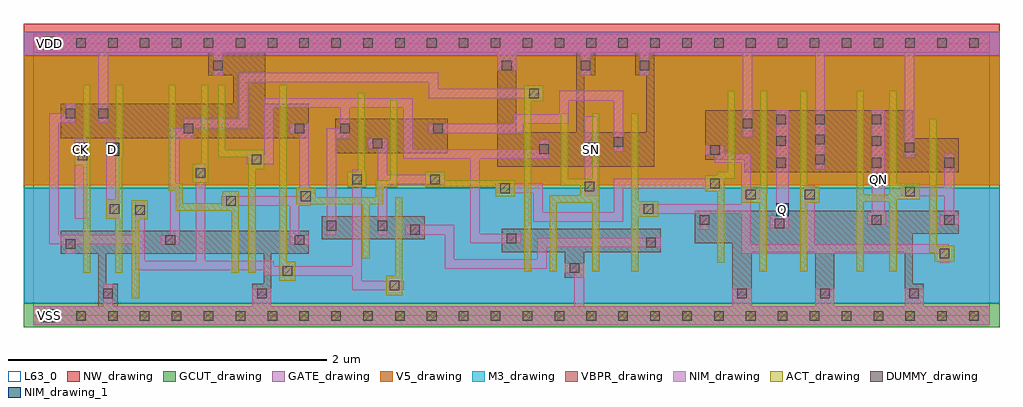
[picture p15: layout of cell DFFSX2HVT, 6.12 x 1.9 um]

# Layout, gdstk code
import gdstk
lib = gdstk.Library(unit=1e-6, precision=5e-10)
def R(c, l, rs):  # rectangles x0, y0, x1, y1
    for r in rs: c.add(gdstk.rectangle(r[:2], r[2:], *l))
def A(c, l, x, y, w, h, nx, ny, dx, dy):  # array of equal rectangles
    R(c, l, [(x+i*dx, y+j*dy, x+i*dx+w, y+j*dy+h) for i in range(nx) for j in range(ny)])
def P(c, l, *ps):  # polygons
    for p in ps: c.add(gdstk.Polygon(p, *l))
VBPR_drawing = (1, 0)
NW_drawing = (2, 0)
ACT_drawing = (3, 0)
GATE_drawing = (4, 0)
GCUT_drawing = (5, 0)
DUMMY_drawing = (6, 0)
NIM_drawing = (7, 0)
NIM_drawing_1 = (7, 1)
M3_drawing = (18, 0)
V5_drawing = (23, 0)
L63_0 = (63, 0)

dffsx2hvt = lib.new_cell('DFFSX2HVT')
R(dffsx2hvt, VBPR_drawing, [(0,-0.06,6,0.06), (1.81,0.48,2.455,0.625), (1.895,1.02,2.6,1.235), (0,1.65,6,1.77)])
P(dffsx2hvt, VBPR_drawing, [(3.895,1.65),(3.775,1.65),(3.775,1.51),(3.845,1.51),(3.845,1.15),(3.455,1.15),(3.455,1.51),(3.525,1.51),(3.525,1.65),(3.405,1.65),(3.405,1.15),(3.03,1.15),(3.03,1.65),(2.91,1.65),(2.91,0.935),(3.895,0.935)],
  [(4.215,1.29),(5.515,1.29),(5.515,1.115),(5.805,1.115),(5.805,0.9),(4.46,0.9),(4.46,0.98),(4.215,0.98)],
  [(5.805,0.66),(4.15,0.66),(4.15,0.455),(4.385,0.455),(4.385,0.06),(4.505,0.06),(4.505,0.4),(4.905,0.4),(4.905,0.06),(5.025,0.06),(5.025,0.4),(5.465,0.4),(5.465,0.06),(5.585,0.06),(5.585,0.2),(5.515,0.2),(5.515,0.515),(5.805,0.515)],
  [(2.94,0.545),(3.935,0.545),(3.935,0.4),(3.455,0.4),(3.455,0.24),(3.335,0.24),(3.335,0.4),(2.94,0.4)],
  [(1.73,0.535),(0.175,0.535),(0.175,0.39),(0.41,0.39),(0.41,0.06),(0.53,0.06),(0.53,0.2),(0.46,0.2),(0.46,0.39),(1.445,0.39),(1.445,0.2),(1.375,0.2),(1.375,0.06),(1.495,0.06),(1.495,0.39),(1.73,0.39)],
  [(1.73,1.33),(1.455,1.33),(1.455,1.65),(1.1,1.65),(1.1,1.51),(1.255,1.51),(1.255,1.33),(0.175,1.33),(0.175,1.115),(1.73,1.115)])
R(dffsx2hvt, NW_drawing, [(-0.06,0.82,6.06,1.83)])
P(dffsx2hvt, ACT_drawing, [(0.315,1.45),(0.36,1.45),(0.36,0.27),(0.315,0.27),(0.315,0.945),(0.26,0.945),(0.26,1.065),(0.315,1.065)],
  [(0.52,1.45),(0.565,1.45),(0.565,0.995),(0.56,0.995),(0.56,0.27),(0.515,0.27),(0.515,0.61),(0.46,0.61),(0.46,0.73),(0.515,0.73),(0.515,1.04),(0.52,1.04)],
  [(0.85,1.45),(0.895,1.45),(0.895,0.83),(0.94,0.83),(0.94,0.705),(1.19,0.705),(1.19,0.78),(1.29,0.78),(1.29,0.27),(1.245,0.27),(1.245,0.66),(0.895,0.66),(0.895,0.785),(0.85,0.785)],
  [(1.055,1.45),(1.1,1.45),(1.1,0.835),(1,0.835),(1,0.955),(1.055,0.955)],
  [(1.16,1.45),(1.205,1.45),(1.205,1.04),(1.45,1.04),(1.45,0.92),(1.395,0.92),(1.395,0.27),(1.35,0.27),(1.35,0.995),(1.16,0.995)],
  [(1.545,1.45),(1.59,1.45),(1.59,0.34),(1.645,0.34),(1.645,0.22),(1.545,0.22)],
  [(2.035,1.4),(2.08,1.4),(2.08,0.905),(2.09,0.905),(2.09,0.805),(1.97,0.805),(1.97,0.905),(2.035,0.905)],
  [(2.24,1.355),(2.285,1.355),(2.285,0.805),(2.195,0.805),(2.195,0.7),(2.11,0.7),(2.11,0.36),(2.065,0.36),(2.065,0.7),(1.65,0.7),(1.65,0.8),(1.77,0.8),(1.77,0.745),(2.15,0.745),(2.15,0.85),(2.24,0.85)],
  [(0.62,0.725),(0.72,0.725),(0.72,0.605),(0.665,0.605),(0.665,0.11),(0.62,0.11)],
  [(3.08,1.445),(3.2,1.445),(3.2,1.345),(3.125,1.345),(3.125,0.28),(3.08,0.28)],
  [(4.355,1.41),(4.4,1.41),(4.4,0.86),(4.335,0.86),(4.335,0.335),(4.29,0.335),(4.29,0.78),(4.215,0.78),(4.215,0.88),(4.29,0.88),(4.29,0.905),(4.355,0.905)],
  [(4.56,1.41),(4.605,1.41),(4.605,0.765),(4.6,0.765),(4.6,0.28),(4.555,0.28),(4.555,0.71),(4.44,0.71),(4.44,0.81),(4.56,0.81)],
  [(4.81,1.41),(4.855,1.41),(4.855,0.81),(4.93,0.81),(4.93,0.71),(4.855,0.71),(4.855,0.28),(4.81,0.28)],
  [(5.165,1.41),(5.21,1.41),(5.21,0.76),(5.37,0.76),(5.37,1.41),(5.415,1.41),(5.415,0.83),(5.56,0.83),(5.56,0.73),(5.415,0.73),(5.415,0.28),(5.37,0.28),(5.37,0.715),(5.21,0.715),(5.21,0.28),(5.165,0.28)],
  [(3.31,1.27),(3.355,1.27),(3.355,0.86),(3.505,0.86),(3.505,1.27),(3.55,1.27),(3.55,0.28),(3.505,0.28),(3.505,0.71),(3.285,0.71),(3.285,0.28),(3.24,0.28),(3.24,0.755),(3.43,0.755),(3.43,0.815),(3.31,0.815)],
  [(3.75,1.27),(3.795,1.27),(3.795,0.72),(3.92,0.72),(3.92,0.62),(3.795,0.62),(3.795,0.28),(3.75,0.28)],
  [(5.62,1.235),(5.665,1.235),(5.665,0.44),(5.775,0.44),(5.775,0.34),(5.655,0.34),(5.655,0.395),(5.62,0.395)],
  [(2.46,0.905),(2.58,0.905),(2.58,0.85),(3.02,0.85),(3.02,0.75),(2.9,0.75),(2.9,0.805),(2.46,0.805)],
  [(2.27,0.745),(2.315,0.745),(2.315,0.13),(2.215,0.13),(2.215,0.25),(2.27,0.25)])
R(dffsx2hvt, GATE_drawing, [(-0.06,0.08,6.06,0.8), (-0.06,1.63,6.06,1.78)])
R(dffsx2hvt, GCUT_drawing, [(-0.06,-0.07,6.06,0.08), (-0.06,0.8,6.06,1.63)])
A(dffsx2hvt, DUMMY_drawing, 0.07, -0.03, 0.06, 0.06, 30, 2, 0.2, 1.71)
A(dffsx2hvt, DUMMY_drawing, 4.66, 0.93, 0.06, 0.06, 1, 3, 0, 0.135)
A(dffsx2hvt, DUMMY_drawing, 5.26, 0.93, 0.06, 0.06, 1, 3, 0, 0.135)
A(dffsx2hvt, DUMMY_drawing, 4.905, 0.95, 0.06, 0.06, 1, 3, 0, 0.125)
R(dffsx2hvt, DUMMY_drawing, [(0.44,0.11,0.5,0.17), (1.405,0.11,1.465,0.17), (4.415,0.11,4.475,0.17), (4.935,0.11,4.995,0.17), (5.495,0.11,5.555,0.17), (2.235,0.16,2.295,0.22), (1.565,0.25,1.625,0.31), (3.365,0.27,3.425,0.33), (5.685,0.36,5.745,0.42), (0.205,0.42,0.265,0.48), (3.845,0.43,3.905,0.49), (0.83,0.445,0.89,0.505), (1.64,0.445,1.7,0.505), (2.97,0.455,3.03,0.515), (2.365,0.51,2.425,0.57), (1.84,0.535,1.9,0.595), (2.16,0.535,2.22,0.595), (4.65,0.55,4.71,0.61), (4.18,0.57,4.24,0.63), (5.26,0.57,5.32,0.63), (5.715,0.57,5.775,0.63), (0.64,0.635,0.7,0.695), (0.48,0.64,0.54,0.7), (3.83,0.64,3.89,0.7), (1.21,0.69,1.27,0.75), (1.68,0.72,1.74,0.78), (4.47,0.73,4.53,0.79), (4.84,0.73,4.9,0.79), (5.47,0.75,5.53,0.81), (2.93,0.77,2.99,0.83), (3.46,0.78,3.52,0.84), (4.245,0.8,4.305,0.86), (2,0.825,2.06,0.885), (2.49,0.825,2.55,0.885), (1.02,0.865,1.08,0.925), (5.715,0.93,5.775,0.99), (1.37,0.95,1.43,1.01), (0.28,0.975,0.34,1.035), (4.245,1.01,4.305,1.07), (3.175,1.015,3.235,1.075), (5.465,1.025,5.525,1.085), (2.13,1.05,2.19,1.11), (3.64,1.06,3.7,1.12), (0.945,1.145,1.005,1.205), (1.64,1.145,1.7,1.205), (1.925,1.145,1.985,1.205), (2.51,1.145,2.57,1.205), (4.45,1.175,4.51,1.235), (0.205,1.24,0.265,1.3), (0.41,1.24,0.47,1.3), (3.11,1.365,3.17,1.425), (1.13,1.54,1.19,1.6), (2.94,1.54,3,1.6), (3.435,1.54,3.495,1.6), (3.805,1.54,3.865,1.6)])
R(dffsx2hvt, NIM_drawing, [(0.44,0.06,0.5,0.2), (1.375,0.06,1.495,0.17), (4.385,0.06,4.505,0.17), (4.905,0.06,5.025,0.17), (5.465,0.06,5.585,0.17), (0.26,0.61,0.34,1.11), (0.46,0.61,0.54,1.11), (3.46,0.75,3.54,1.25), (4.905,0.92,4.965,1.65), (5.465,0.995,5.525,1.65), (4.45,1.12,4.51,1.65), (0.41,1.21,0.47,1.65), (1.13,1.51,1.19,1.65), (3.435,1.51,3.495,1.65), (3.805,1.51,3.865,1.65), (2.91,1.54,3.03,1.65)])
P(dffsx2hvt, NIM_drawing, [(3.455,0.33),(3.335,0.33),(3.335,0.27),(3.395,0.27),(3.395,0.06),(3.455,0.06)],
  [(0.205,1.33),(0.265,1.33),(0.265,1.21),(0.16,1.21),(0.16,0.51),(0.64,0.51),(0.64,0.725),(0.7,0.725),(0.7,0.345),(1.02,0.345),(1.02,0.955),(1.08,0.955),(1.08,0.345),(1.51,0.345),(1.51,0.31),(2,0.31),(2,0.915),(2.06,0.915),(2.06,0.22),(2.325,0.22),(2.325,0.16),(2,0.16),(2,0.25),(1.45,0.25),(1.45,0.285),(0.64,0.285),(0.64,0.45),(0.265,0.45),(0.265,0.39),(0.205,0.39),(0.205,0.45),(0.1,0.45),(0.1,1.27),(0.205,1.27)],
  [(1.29,1.525),(2.54,1.525),(2.54,1.425),(3.2,1.425),(3.2,1.365),(2.48,1.365),(2.48,1.465),(1.35,1.465),(1.35,1.175),(1.005,1.175),(1.005,1.115),(0.92,1.115),(0.92,0.445),(0.8,0.445),(0.8,0.505),(0.86,0.505),(0.86,1.175),(0.945,1.175),(0.945,1.235),(1.29,1.235)],
  [(1.45,1.365),(2.38,1.365),(2.38,1.045),(3.175,1.045),(3.175,1.105),(3.235,1.105),(3.235,0.985),(2.8,0.985),(2.8,0.515),(3.06,0.515),(3.06,0.455),(2.74,0.455),(2.74,0.985),(2.32,0.985),(2.32,1.305),(1.985,1.305),(1.985,1.115),(1.9,1.115),(1.9,0.505),(1.84,0.505),(1.84,1.175),(1.925,1.175),(1.925,1.305),(1.51,1.305),(1.51,0.95),(1.34,0.95),(1.34,1.01),(1.45,1.01)],
  [(3.3,1.41),(3.7,1.41),(3.7,1.03),(3.64,1.03),(3.64,1.35),(3.36,1.35),(3.36,1.205),(3.075,1.205),(3.075,1.145),(2.48,1.145),(2.48,1.205),(3.015,1.205),(3.015,1.265),(3.3,1.265)],
  [(1.61,1.205),(1.73,1.205),(1.73,0.81),(1.74,0.81),(1.74,0.69),(1.67,0.69),(1.67,0.505),(1.73,0.505),(1.73,0.445),(1.61,0.445),(1.61,0.69),(1.18,0.69),(1.18,0.75),(1.67,0.75),(1.67,1.145),(1.61,1.145)],
  [(2.1,1.11),(2.22,1.11),(2.22,0.885),(2.58,0.885),(2.58,0.825),(2.22,0.825),(2.22,0.505),(2.16,0.505),(2.16,1.05),(2.1,1.05)],
  [(4.215,1.07),(4.335,1.07),(4.335,1.02),(4.5,1.02),(4.5,0.79),(4.56,0.79),(4.56,0.73),(4.5,0.73),(4.5,0.45),(4.84,0.45),(4.84,0.82),(4.9,0.82),(4.9,0.45),(5.745,0.45),(5.745,0.33),(5.685,0.33),(5.685,0.39),(4.44,0.39),(4.44,0.64),(4.24,0.64),(4.24,0.54),(4.18,0.54),(4.18,0.64),(3.8,0.64),(3.8,0.7),(4.44,0.7),(4.44,0.96),(4.275,0.96),(4.275,1.01),(4.215,1.01)],
  [(4.66,1.29),(4.74,1.29),(4.74,0.55),(4.62,0.55),(4.62,0.63),(4.66,0.63)],
  [(5.26,1.29),(5.34,1.29),(5.34,0.65),(5.35,0.65),(5.35,0.57),(5.23,0.57),(5.23,0.65),(5.26,0.65)],
  [(5.715,1.02),(5.775,1.02),(5.775,0.63),(5.805,0.63),(5.805,0.57),(5.685,0.57),(5.685,0.63),(5.715,0.63),(5.715,0.75),(5.44,0.75),(5.44,0.81),(5.715,0.81)],
  [(2.9,0.83),(3.195,0.83),(3.195,0.65),(3.64,0.65),(3.64,0.86),(4.335,0.86),(4.335,0.8),(3.7,0.8),(3.7,0.59),(3.135,0.59),(3.135,0.77),(2.9,0.77)],
  [(2.335,0.57),(2.64,0.57),(2.64,0.355),(3.16,0.355),(3.16,0.49),(3.935,0.49),(3.935,0.43),(3.22,0.43),(3.22,0.295),(2.58,0.295),(2.58,0.51),(2.335,0.51)])
R(dffsx2hvt, NIM_drawing_1, [(0.06,-0.04,0.14,0.04), (4.66,0.625,4.74,0.705), (5.26,0.815,5.34,0.895), (0.26,1.005,0.34,1.085), (0.46,1.005,0.54,1.085), (3.46,1.005,3.54,1.085), (0.06,1.67,0.14,1.75)])
R(dffsx2hvt, M3_drawing, [(-0.06,0.08,6.06,0.8)])
R(dffsx2hvt, V5_drawing, [(-0.06,0.82,6.06,1.63)])
R(dffsx2hvt, L63_0, [(0,0,6,1.71)])
dffsx2hvt.add(gdstk.FlexPath([(0,0),(6,0)], 0.12, ends="flush", simple_path=True, layer=7, datatype=0))  # NIM_drawing
dffsx2hvt.add(gdstk.FlexPath([(0,1.71),(6,1.71)], 0.12, ends="flush", simple_path=True, layer=7, datatype=0))  # NIM_drawing
dffsx2hvt.add(gdstk.Label('QN', (5.3,0.855), layer=7, texttype=1))
dffsx2hvt.add(gdstk.Label('Q', (4.7,0.665), layer=7, texttype=1))
dffsx2hvt.add(gdstk.Label('SN', (3.5,1.045), layer=7, texttype=1))
dffsx2hvt.add(gdstk.Label('D', (0.5,1.045), layer=7, texttype=1))
dffsx2hvt.add(gdstk.Label('CK', (0.3,1.045), layer=7, texttype=1))
dffsx2hvt.add(gdstk.Label('VDD', (0.1,1.71), layer=7, texttype=1))
dffsx2hvt.add(gdstk.Label('VSS', (0.1,0), layer=7, texttype=1))
dffsx2hvt.add(gdstk.Label('VSS', (0.1,0), layer=7, texttype=1))
dffsx2hvt.add(gdstk.Label('VDD', (0.1,1.71), layer=7, texttype=1))
dffsx2hvt.add(gdstk.Label('CK', (0.3,1.045), layer=7, texttype=1))
dffsx2hvt.add(gdstk.Label('D', (0.5,1.045), layer=7, texttype=1))
dffsx2hvt.add(gdstk.Label('SN', (3.5,1.045), layer=7, texttype=1))
dffsx2hvt.add(gdstk.Label('Q', (4.7,0.665), layer=7, texttype=1))
dffsx2hvt.add(gdstk.Label('QN', (5.3,0.855), layer=7, texttype=1))
dffsx2hvt.add(gdstk.Label('DFFSX2', (0,0), layer=63, texttype=0))

lib.write_gds('DFFSX2HVT.gds')
